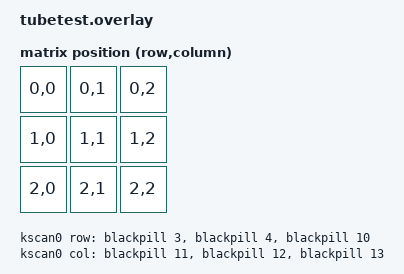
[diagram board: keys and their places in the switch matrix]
#include <dt-bindings/zmk/matrix_transform.h>

/ {
    chosen {
    zmk,kscan = &kscan0;
    zmk,matrix_transform = &default_transform;
    };

    kscan0: kscan_0 {
        compatiable = "zmk,kscan-gpio-matrix";
        label = "KSCAN";
        diode-direction = "col2row";

        row-gpios = <&blackpill 3 (GPIO_ACTIVE_HIGH | GPIO_PULL_DOWN)>,
                    <&blackpill 4 (GPIO_ACTIVE_HIGH | GPIO_PULL_DOWN)>,
                    <&blackpill 10 (GPIO_ACTIVE_HIGH | GPIO_PULL_DOWN)>;
        
        col-gpios = <&blackpill 11 GPIO_ACTIVE_HIGH>,
                    <&blackpill 12 GPIO_ACTIVE_HIGH>,
                    <&blackpill 13 GPIO_ACTIVE_HIGH>;
    };

    default_transform: keymap_transform_0 {
        compatiable = "zmk,matrix-transform";
        rows = <3>;
        columns = <3>;

        map = <
            RC(0,0) RC(0,1) RC(0,2)
            RC(1,0) RC(1,1) RC(1,2)
            RC(2,0) RC(2,1) RC(2,2)
        >;
    };
};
